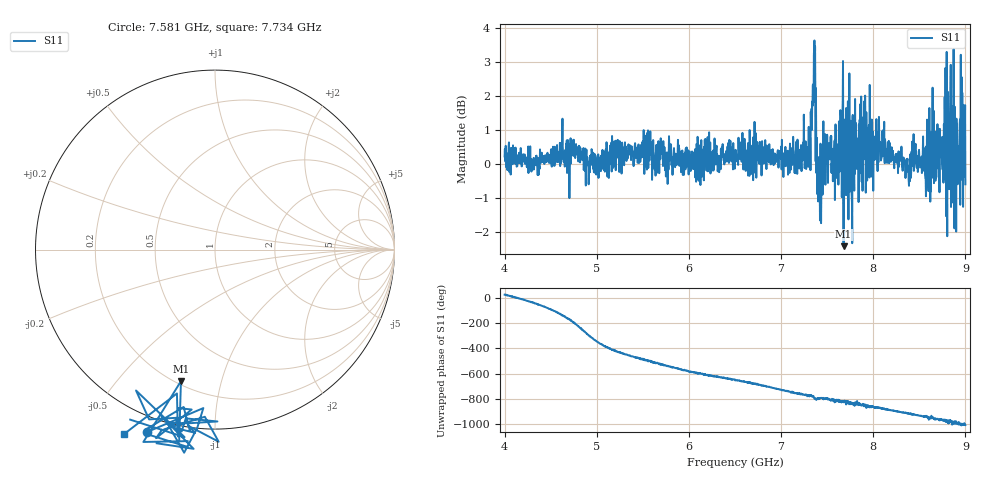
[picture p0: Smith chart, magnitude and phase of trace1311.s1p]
! Created with skrf 1.8.0 (http://scikit-rf.org).
# Hz S RI R 50.0
!freq ReS11 ImS11
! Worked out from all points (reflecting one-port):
!   1601 points, 4 GHz to 9 GHz, reference 50 ohm
!   lowest |S11| = -2.4 dB at 7.678 GHz (marker M1), VSWR 7.23, Z = 10.9 - j37.5 ohm
!   phase of S11 starts at 30 deg and turns -1042 deg over the sweep
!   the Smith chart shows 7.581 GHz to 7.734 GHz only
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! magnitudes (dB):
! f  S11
! 4 GHz  0.2
! 4.625 GHz  0.8
! 4.903 GHz  0.0
! 5.25 GHz  0.7
! 5.875 GHz  0.1
! 6.5 GHz  0.2
! 7.125 GHz  0.2
! 7.294 GHz  -0.1
! 7.347 GHz  2.4
! 7.366 GHz  2.5
! 7.397 GHz  -0.8
! 7.416 GHz  -1.0
! 7.481 GHz  -0.6
! 7.609 GHz  0.2
! 7.65 GHz  0.9
! 7.678 GHz  -2.4
! 7.75 GHz  -0.1
! 7.769 GHz  -1.1
! 7.8 GHz  -0.3
! 7.928 GHz  0.7
! 8.375 GHz  -0.1
! 8.441 GHz  -0.2
! 8.581 GHz  0.1
! 8.647 GHz  -0.4
! 8.831 GHz  0.8
! 8.919 GHz  -0.5
! 8.972 GHz  0.7
! 9 GHz  -0.6
